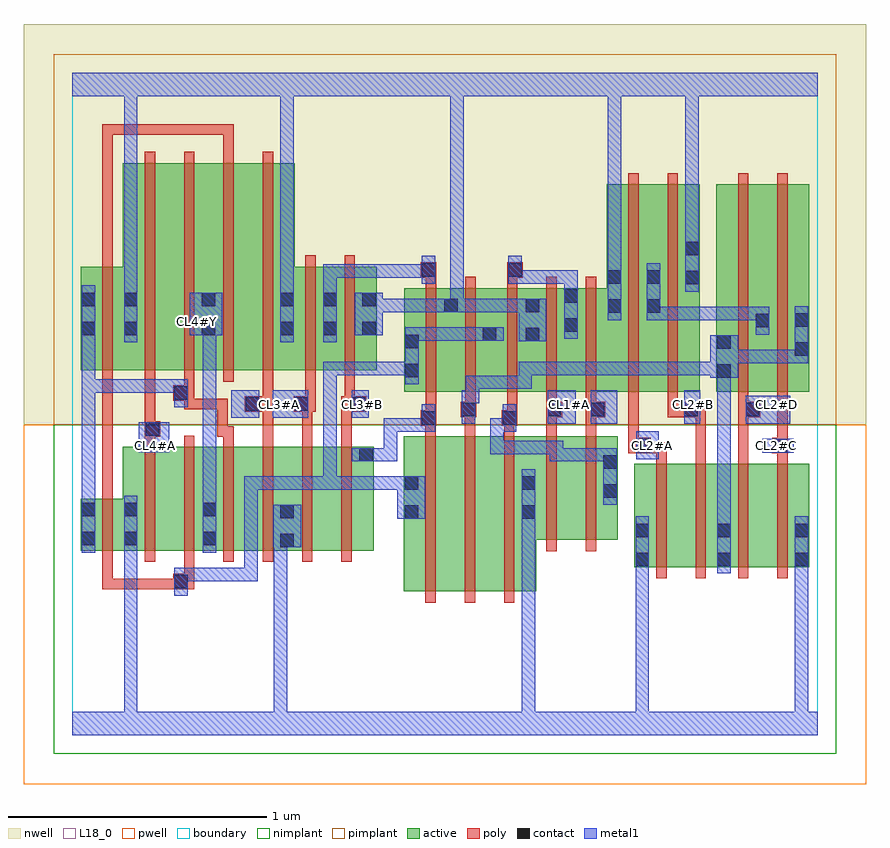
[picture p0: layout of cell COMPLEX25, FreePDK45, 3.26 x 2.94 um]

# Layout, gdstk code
import gdstk
lib = gdstk.Library(unit=1e-6, precision=1e-09)
def R(c, l, rs):  # rectangles x0, y0, x1, y1
    for r in rs: c.add(gdstk.rectangle(r[:2], r[2:], *l))
def A(c, l, x, y, w, h, nx, ny, dx, dy):  # array of equal rectangles
    R(c, l, [(x+i*dx, y+j*dy, x+i*dx+w, y+j*dy+h) for i in range(nx) for j in range(ny)])
active = (1, 0)
pwell = (2, 0)
nwell = (3, 0)
nimplant = (4, 0)
pimplant = (5, 0)
poly = (9, 0)
contact = (10, 0)
metal1 = (11, 0)
L18_0 = (18, 0)
boundary = (235, 0)

complex25 = lib.new_cell('COMPLEX25')
R(complex25, active, [(1.28,0.556,1.46,1.156), (1.28,0.556,1.34,1.156), (1.46,0.556,1.612,1.156), (1.612,0.556,1.792,1.156), (2.172,0.65,2.232,1.05), (2.172,0.65,2.352,1.05), (2.352,0.65,2.548,1.05), (2.488,0.65,2.548,1.05), (2.488,0.65,2.668,1.05), (2.668,0.65,2.848,1.05), (2.788,0.65,2.848,1.05), (0.032,0.714,0.092,0.914), (0.032,0.714,0.256,0.914), (0.196,0.714,0.376,1.114), (0.196,0.714,0.256,0.914), (0.376,0.714,0.56,1.114), (0.5,0.714,0.56,1.114), (0.5,0.714,0.68,1.114), (0.68,0.714,0.86,1.114), (0.8,0.714,0.984,1.114), (0.8,0.714,0.86,0.894), (0.984,0.714,1.164,1.114), (1.104,0.756,1.164,1.114), (1.732,0.756,1.928,1.156), (1.732,0.756,1.792,1.004), (1.928,0.756,2.108,1.156), (2.048,0.756,2.108,1.156), (1.282,1.328,1.494,1.728), (1.282,1.328,1.342,1.644), (1.434,1.328,1.642,1.728), (1.582,1.328,1.808,1.728), (1.748,1.328,1.808,1.728), (1.748,1.328,1.956,1.728), (1.896,1.328,1.956,1.728), (1.896,1.328,2.124,1.728), (2.064,1.328,2.276,2.128), (2.216,1.328,2.424,2.128), (2.488,1.328,2.548,2.044), (2.488,1.328,2.696,2.128), (2.636,1.328,2.848,2.128), (2.788,1.328,2.848,2.044), (1.434,1.356,1.494,1.728), (2.636,1.356,2.696,2.044), (2.216,1.366,2.276,2.044), (0.032,1.41,0.092,1.81), (0.032,1.41,0.256,1.81), (0.196,1.41,0.256,2.21), (0.196,1.41,0.376,2.21), (0.376,1.41,0.556,2.21), (0.496,1.41,0.68,2.21), (0.496,1.41,0.556,2.044), (0.68,1.41,0.86,2.21), (0.8,1.41,1.026,1.81), (0.8,1.41,0.86,2.21), (0.966,1.41,1.026,1.81), (0.966,1.41,1.176,1.81), (1.116,1.41,1.176,1.81), (2.064,1.422,2.124,2.128), (2.364,1.452,2.424,2.044), (1.582,1.52,1.642,1.644)])
R(complex25, pwell, [(-0.188,-0.188,3.068,1.2)])
R(complex25, nwell, [(-0.188,1.2,3.068,2.748)])
R(complex25, nimplant, [(-0.072,-0.072,2.952,1.2)])
R(complex25, pimplant, [(-0.072,1.2,2.952,2.632)])
A(complex25, poly, 1.364, 0.512, 0.04, 0.688, 3, 1, 0.152, 0)
A(complex25, poly, 0.28, 0.67, 0.04, 0.488, 6, 1, 0.152, 0)
A(complex25, poly, 0.736, 1.118, 0.04, 0.172, 3, 1, 0.152, 0)
A(complex25, poly, 1.68, 1.284, 0.04, 0.488, 3, 1, 0.152, 0)
A(complex25, poly, 0.28, 1.366, 0.04, 0.888, 4, 1, 0.152, 0)
R(complex25, poly, [(0.116,0.564,0.156,0.604), (0.116,0.564,0.156,0.604), (0.116,0.564,0.156,0.604), (0.116,0.564,0.156,0.604), (0.116,0.564,0.156,0.604), (0.116,0.564,0.156,0.604), (0.116,0.564,0.156,0.604), (0.116,0.564,0.156,0.71), (0.116,0.564,0.324,0.604), (0.284,0.564,0.324,0.604), (0.284,0.564,0.324,0.604), (0.284,0.564,0.324,0.604), (0.284,0.564,0.43,0.604), (0.39,0.564,0.472,0.624), (0.432,0.584,0.472,0.71), (2.256,0.606,2.296,1.094), (2.408,0.606,2.448,1.094), (2.572,0.606,2.612,1.094), (2.724,0.606,2.764,1.094), (0.116,0.67,0.156,0.958), (1.832,0.712,1.872,1.2), (1.984,0.712,2.024,1.2), (0.116,0.918,0.156,1.37), (2.256,1.054,2.296,1.13), (2.408,1.054,2.448,1.268), (2.572,1.054,2.612,1.268), (2.724,1.054,2.764,1.13), (2.148,1.09,2.234,1.15), (2.194,1.09,2.234,1.13), (2.194,1.09,2.296,1.13), (2.704,1.09,2.764,1.15), (2.148,1.11,2.188,1.324), (2.724,1.11,2.764,1.324), (2.724,1.11,2.764,1.15), (2.724,1.11,2.764,1.15), (0.28,1.118,0.32,1.194), (0.584,1.118,0.624,1.194), (0.28,1.154,0.34,1.214), (0.56,1.154,0.6,1.3), (0.56,1.154,0.624,1.194), (1.364,1.16,1.404,1.236), (1.516,1.16,1.556,1.268), (1.668,1.16,1.708,1.236), (1.832,1.16,1.872,1.268), (1.984,1.16,2.024,1.268), (0.28,1.174,0.32,1.214), (0.28,1.174,0.32,1.214), (0.28,1.174,0.32,1.406), (1.346,1.196,1.406,1.256), (1.66,1.196,1.72,1.256), (1.366,1.216,1.406,1.256), (1.366,1.216,1.406,1.256), (1.366,1.216,1.406,1.324), (1.68,1.216,1.72,1.256), (1.68,1.216,1.72,1.256), (1.68,1.216,1.72,1.324), (1.5,1.228,1.56,1.288), (1.516,1.228,1.556,1.268), (1.516,1.228,1.556,1.268), (1.832,1.228,1.872,1.268), (1.832,1.228,1.872,1.268), (1.832,1.228,1.892,1.288), (1.984,1.228,2.024,1.268), (1.984,1.228,2.024,1.268), (1.984,1.228,2.06,1.288), (2.3,1.228,2.42,1.288), (2.38,1.228,2.42,1.268), (2.38,1.228,2.448,1.268), (2.572,1.228,2.612,1.268), (2.572,1.228,2.612,1.268), (2.572,1.228,2.658,1.288), (1.518,1.248,1.558,1.324), (1.832,1.248,1.872,1.324), (1.984,1.248,2.024,1.324), (2.3,1.248,2.34,1.324), (2.572,1.248,2.612,1.324), (0.666,1.25,0.776,1.31), (0.736,1.25,0.776,1.29), (0.736,1.25,0.776,1.29), (0.856,1.25,0.94,1.31), (0.888,1.25,0.928,1.29), (0.888,1.25,0.928,1.29), (1.04,1.25,1.136,1.31), (0.432,1.26,0.6,1.3), (0.432,1.26,0.472,1.332), (0.56,1.26,0.6,1.3), (0.736,1.27,0.776,1.406), (0.9,1.27,0.94,1.406), (1.052,1.27,1.092,1.31), (1.052,1.27,1.092,1.31), (1.052,1.27,1.092,1.406), (1.366,1.284,1.406,1.772), (1.518,1.284,1.558,1.772), (2.148,1.284,2.188,2.172), (2.3,1.284,2.34,2.172), (2.572,1.284,2.612,2.172), (2.724,1.284,2.764,2.172), (0.39,1.292,0.472,1.352), (0.432,1.292,0.472,1.332), (0.432,1.312,0.472,1.406), (0.116,1.33,0.156,1.37), (0.116,1.33,0.156,1.37), (0.116,1.33,0.156,1.37), (0.116,1.33,0.156,1.406), (0.116,1.366,0.156,1.854), (0.9,1.366,0.94,1.854), (1.052,1.366,1.092,1.854), (1.366,1.732,1.406,1.808), (1.68,1.732,1.72,1.808), (1.346,1.768,1.406,1.828), (1.68,1.768,1.74,1.828), (0.116,1.814,0.156,2.36), (0.584,2.214,0.624,2.36), (0.116,2.32,0.156,2.36), (0.116,2.32,0.156,2.36), (0.116,2.32,0.156,2.36), (0.116,2.32,0.156,2.36), (0.116,2.32,0.156,2.36), (0.116,2.32,0.156,2.36), (0.116,2.32,0.156,2.36), (0.116,2.32,0.156,2.36), (0.116,2.32,0.156,2.36), (0.116,2.32,0.156,2.36), (0.116,2.32,0.156,2.36), (0.116,2.32,0.324,2.36), (0.284,2.32,0.324,2.36), (0.284,2.32,0.324,2.36), (0.284,2.32,0.324,2.36), (0.284,2.32,0.494,2.36), (0.454,2.32,0.494,2.36), (0.454,2.32,0.494,2.36), (0.454,2.32,0.494,2.36), (0.454,2.32,0.624,2.36), (0.584,2.32,0.624,2.36)])
R(complex25, contact, [(0.394,0.568,0.446,0.62), (2.176,0.654,2.228,0.706), (2.492,0.654,2.544,0.706), (2.792,0.654,2.844,0.706), (0.804,0.726,0.856,0.778), (0.036,0.734,0.088,0.786), (0.2,0.734,0.252,0.786), (0.504,0.734,0.556,0.786), (2.176,0.766,2.228,0.818), (2.492,0.766,2.544,0.818), (2.792,0.766,2.844,0.818), (1.284,0.836,1.336,0.888), (1.736,0.836,1.788,0.888), (0.804,0.838,0.856,0.89), (0.036,0.846,0.088,0.898), (0.2,0.846,0.252,0.898), (0.504,0.846,0.556,0.898), (2.052,0.918,2.104,0.97), (1.284,0.948,1.336,1), (1.736,0.948,1.788,1), (2.052,1.03,2.104,1.082), (1.108,1.058,1.16,1.11), (2.178,1.094,2.23,1.146), (2.708,1.094,2.76,1.146), (0.284,1.158,0.336,1.21), (1.35,1.2,1.402,1.252), (1.664,1.2,1.716,1.252), (1.504,1.232,1.556,1.284), (1.836,1.232,1.888,1.284), (2.004,1.232,2.056,1.284), (2.364,1.232,2.416,1.284), (2.602,1.232,2.654,1.284), (0.67,1.254,0.722,1.306), (0.86,1.254,0.912,1.306), (1.08,1.254,1.132,1.306), (0.394,1.296,0.446,1.348), (2.492,1.382,2.544,1.434), (1.286,1.384,1.338,1.436), (2.792,1.466,2.844,1.518), (2.492,1.494,2.544,1.546), (1.286,1.496,1.338,1.548), (1.752,1.522,1.804,1.574), (1.586,1.524,1.638,1.576), (0.036,1.546,0.088,1.598), (0.2,1.546,0.252,1.598), (0.5,1.546,0.552,1.598), (0.804,1.546,0.856,1.598), (0.97,1.546,1.022,1.598), (1.12,1.546,1.172,1.598), (1.9,1.56,1.952,1.612), (2.64,1.576,2.692,1.628), (2.792,1.578,2.844,1.63), (2.068,1.632,2.12,1.684), (2.22,1.632,2.272,1.684), (1.438,1.634,1.49,1.686), (1.752,1.634,1.804,1.686), (0.036,1.658,0.088,1.71), (0.2,1.658,0.252,1.71), (0.5,1.658,0.552,1.71), (0.804,1.658,0.856,1.71), (0.97,1.658,1.022,1.71), (1.12,1.658,1.172,1.71), (1.9,1.672,1.952,1.724), (2.368,1.742,2.42,1.794), (2.068,1.744,2.12,1.796), (2.22,1.744,2.272,1.796), (1.35,1.772,1.402,1.824), (1.684,1.772,1.736,1.824), (2.368,1.854,2.42,1.906)])
R(complex25, metal1, [(0,0,2.88,0.092), (0.2,0.04,0.252,0.092), (0.2,0.04,0.252,0.092), (0.2,0.04,0.252,0.092), (0.2,0.04,0.252,0.092), (0.2,0.04,0.252,0.092), (0.2,0.04,0.252,0.092), (0.2,0.04,0.252,0.092), (0.2,0.04,0.252,0.092), (0.2,0.04,0.252,0.092), (0.2,0.04,0.252,0.092), (0.2,0.04,0.252,0.758), (0.778,0.04,0.83,0.092), (0.778,0.04,0.83,0.092), (0.778,0.04,0.83,0.092), (0.778,0.04,0.83,0.092), (0.778,0.04,0.83,0.092), (0.778,0.04,0.83,0.092), (0.778,0.04,0.83,0.092), (0.778,0.04,0.83,0.092), (0.778,0.04,0.83,0.092), (0.778,0.04,0.83,0.092), (0.778,0.04,0.83,0.092), (0.778,0.04,0.83,0.092), (0.778,0.04,0.83,0.778), (1.736,0.04,1.788,0.092), (1.736,0.04,1.788,0.092), (1.736,0.04,1.788,0.092), (1.736,0.04,1.788,0.092), (1.736,0.04,1.788,0.86), (2.176,0.04,2.228,0.092), (2.176,0.04,2.228,0.092), (2.176,0.04,2.228,0.678), (2.792,0.04,2.844,0.092), (2.792,0.04,2.844,0.092), (2.792,0.04,2.844,0.092), (2.792,0.04,2.844,0.092), (2.792,0.04,2.844,0.678), (0.394,0.54,0.446,0.648), (0.394,0.596,0.446,0.648), (0.394,0.596,0.446,0.648), (0.394,0.596,0.556,0.648), (0.504,0.596,0.556,0.648), (0.504,0.596,0.716,0.648), (0.664,0.596,0.716,0.648), (0.664,0.596,0.716,0.648), (0.664,0.596,0.716,0.648), (0.664,0.596,0.716,1), (2.176,0.626,2.228,0.846), (2.176,0.626,2.228,0.678), (2.176,0.626,2.228,0.678), (2.176,0.626,2.228,0.678), (2.176,0.626,2.228,0.678), (2.176,0.626,2.228,0.678), (2.176,0.626,2.228,0.678), (2.176,0.626,2.228,0.678), (2.176,0.626,2.228,0.678), (2.176,0.626,2.228,0.678), (2.176,0.626,2.228,0.678), (2.492,0.626,2.544,0.846), (2.792,0.626,2.844,0.846), (2.792,0.626,2.844,0.678), (2.792,0.626,2.844,0.678), (2.792,0.626,2.844,0.678), (2.792,0.626,2.844,0.678), (2.792,0.626,2.844,0.678), (2.792,0.626,2.844,0.678), (2.792,0.626,2.844,0.678), (2.792,0.626,2.844,0.678), (0.036,0.706,0.088,0.926), (0.2,0.706,0.252,0.926), (0.2,0.706,0.252,0.758), (0.2,0.706,0.252,0.758), (0.504,0.706,0.556,0.926), (0.776,0.726,0.884,0.89), (2.492,0.794,2.544,0.846), (2.492,0.794,2.544,0.846), (2.492,0.794,2.544,1.434), (1.736,0.808,1.788,1.028), (1.736,0.808,1.788,0.86), (1.736,0.808,1.788,0.86), (1.736,0.808,1.788,0.86), (1.736,0.808,1.788,0.86), (1.256,0.836,1.364,1), (0.036,0.874,0.088,1.376), (0.504,0.874,0.556,0.926), (0.504,0.874,0.556,0.926), (0.504,0.874,0.556,1.598), (2.052,0.89,2.104,1.11), (0.664,0.948,0.716,1), (0.664,0.948,0.716,1), (0.664,0.948,0.716,1), (0.664,0.948,0.912,1), (0.86,0.948,0.912,1), (0.86,0.948,0.912,1), (0.86,0.948,0.912,1), (0.86,0.948,1.022,1), (0.97,0.948,1.022,1), (0.97,0.948,1.022,1), (0.97,0.948,1.022,1), (0.97,0.948,1.132,1), (0.97,0.948,1.022,1.444), (1.08,0.948,1.132,1), (1.08,0.948,1.132,1), (1.08,0.948,1.132,1), (1.08,0.948,1.308,1), (1.08,1.058,1.256,1.11), (1.204,1.058,1.256,1.224), (1.844,1.058,2.052,1.11), (1.844,1.058,1.896,1.138), (2,1.058,2.052,1.11), (2,1.058,2.104,1.11), (2.178,1.066,2.266,1.174), (1.614,1.086,1.666,1.138), (1.614,1.086,1.778,1.138), (1.614,1.086,1.666,1.224), (1.726,1.086,1.778,1.138), (1.726,1.086,1.778,1.138), (1.726,1.086,1.778,1.138), (1.726,1.086,1.896,1.138), (1.844,1.086,1.896,1.138), (1.844,1.086,1.896,1.138), (2.666,1.092,2.788,1.146), (0.256,1.094,0.374,1.21), (1.204,1.172,1.256,1.224), (1.204,1.172,1.256,1.224), (1.204,1.172,1.256,1.224), (1.204,1.172,1.402,1.224), (1.35,1.172,1.402,1.28), (1.614,1.172,1.666,1.224), (1.614,1.172,1.716,1.224), (1.664,1.172,1.716,1.28), (1.504,1.204,1.556,1.334), (1.836,1.204,1.946,1.334), (2.004,1.204,2.106,1.334), (2.364,1.204,2.426,1.334), (2.602,1.204,2.774,1.312), (0.614,1.226,0.722,1.334), (0.774,1.226,0.912,1.334), (1.08,1.226,1.146,1.334), (0.394,1.268,0.446,1.376), (1.504,1.282,1.572,1.334), (1.52,1.282,1.572,1.39), (0.036,1.324,0.088,1.376), (0.036,1.324,0.088,1.376), (0.036,1.324,0.088,1.376), (0.036,1.324,0.088,1.376), (0.036,1.324,0.088,1.376), (0.036,1.324,0.198,1.376), (0.036,1.324,0.088,1.57), (0.146,1.324,0.198,1.376), (0.146,1.324,0.198,1.376), (0.146,1.324,0.198,1.376), (0.146,1.324,0.308,1.376), (0.256,1.324,0.308,1.376), (0.256,1.324,0.446,1.376), (1.52,1.338,1.776,1.39), (1.724,1.338,1.776,1.39), (1.724,1.338,1.776,1.39), (1.724,1.338,1.776,1.39), (1.724,1.338,1.776,1.444), (1.286,1.356,1.338,1.576), (1.286,1.356,1.338,1.408), (1.286,1.356,1.338,1.444), (2.464,1.382,2.572,1.546), (2.492,1.382,2.544,1.434), (2.492,1.382,2.544,1.434), (0.97,1.392,1.022,1.444), (0.97,1.392,1.022,1.444), (0.97,1.392,1.022,1.444), (0.97,1.392,1.022,1.444), (0.97,1.392,1.022,1.444), (0.97,1.392,1.022,1.444), (0.97,1.392,1.022,1.444), (0.97,1.392,1.292,1.444), (1.24,1.392,1.292,1.444), (1.24,1.392,1.338,1.444), (1.724,1.392,1.776,1.444), (1.724,1.392,1.902,1.444), (1.85,1.392,1.902,1.444), (1.85,1.392,1.902,1.444), (1.85,1.392,1.902,1.444), (1.85,1.392,2.052,1.444), (2,1.392,2.052,1.444), (2,1.392,2.056,1.444), (2.004,1.392,2.056,1.444), (2.004,1.392,2.162,1.444), (2.11,1.392,2.162,1.444), (2.11,1.392,2.272,1.444), (2.22,1.392,2.272,1.444), (2.22,1.392,2.272,1.444), (2.22,1.392,2.272,1.444), (2.22,1.392,2.382,1.444), (2.33,1.392,2.382,1.444), (2.33,1.392,2.382,1.444), (2.33,1.392,2.382,1.444), (2.33,1.392,2.516,1.444), (2.52,1.438,2.572,1.49), (2.52,1.438,2.572,1.49), (2.52,1.438,2.682,1.49), (2.63,1.438,2.844,1.49), (2.63,1.438,2.682,1.49), (2.63,1.438,2.682,1.49), (2.63,1.438,2.682,1.49), (2.792,1.438,2.844,1.658), (0.036,1.518,0.088,1.738), (0.2,1.518,0.252,1.738), (0.804,1.518,0.856,1.738), (0.97,1.518,1.022,1.738), (1.724,1.522,1.832,1.686), (1.286,1.524,1.446,1.576), (1.394,1.524,1.446,1.576), (1.394,1.524,1.462,1.576), (1.41,1.524,1.462,1.576), (1.41,1.524,1.556,1.576), (1.504,1.524,1.556,1.576), (1.504,1.524,1.61,1.576), (1.558,1.524,1.666,1.576), (1.9,1.532,1.952,1.752), (0.454,1.546,0.58,1.71), (0.504,1.546,0.556,1.598), (0.504,1.546,0.556,1.598), (0.504,1.546,0.556,1.598), (0.504,1.546,0.556,1.598), (1.092,1.546,1.2,1.71), (2.64,1.548,2.692,1.656), (2.068,1.604,2.12,1.824), (2.22,1.604,2.272,1.824), (2.22,1.604,2.382,1.656), (2.33,1.604,2.382,1.656), (2.33,1.604,2.382,1.656), (2.33,1.604,2.382,1.656), (2.33,1.604,2.536,1.656), (2.484,1.604,2.536,1.656), (2.484,1.604,2.536,1.656), (2.484,1.604,2.536,1.656), (2.484,1.604,2.692,1.656), (1.148,1.634,1.352,1.686), (1.3,1.634,1.352,1.686), (1.3,1.634,1.402,1.686), (1.35,1.634,1.402,1.686), (1.35,1.634,1.462,1.686), (1.41,1.634,1.462,1.686), (1.41,1.634,1.462,1.686), (1.41,1.634,1.518,1.686), (1.41,1.634,1.556,1.686), (1.46,1.634,1.512,2.204), (1.504,1.634,1.556,1.686), (1.504,1.634,1.666,1.686), (1.614,1.634,1.666,1.686), (1.614,1.634,1.666,1.686), (1.614,1.634,1.666,1.686), (1.614,1.634,1.776,1.686), (0.2,1.686,0.252,1.738), (0.2,1.686,0.252,1.738), (0.2,1.686,0.252,1.738), (0.2,1.686,0.252,1.738), (0.2,1.686,0.252,2.52), (0.804,1.686,0.856,1.738), (0.804,1.686,0.856,1.738), (0.804,1.686,0.856,2.52), (0.97,1.686,1.022,1.82), (1.9,1.7,1.952,1.796), (2.368,1.714,2.42,1.934), (1.35,1.744,1.402,1.852), (1.684,1.744,1.736,1.852), (1.684,1.744,1.776,1.796), (1.724,1.744,1.776,1.796), (1.724,1.744,1.942,1.796), (1.89,1.744,1.942,1.796), (1.89,1.744,1.942,1.796), (1.89,1.744,1.952,1.796), (0.97,1.768,1.022,1.82), (0.97,1.768,1.022,1.82), (0.97,1.768,1.022,1.82), (0.97,1.768,1.28,1.82), (1.228,1.768,1.28,1.82), (1.228,1.768,1.28,1.82), (1.228,1.768,1.28,1.82), (1.228,1.768,1.402,1.82), (2.068,1.772,2.12,2.52), (2.368,1.882,2.42,1.934), (2.368,1.882,2.42,1.934), (2.368,1.882,2.42,1.934), (2.368,1.882,2.42,1.934), (2.368,1.882,2.42,2.52), (1.46,2.152,1.512,2.204), (1.46,2.152,1.512,2.204), (1.46,2.152,1.512,2.204), (1.46,2.152,1.512,2.204), (1.46,2.152,1.512,2.204), (1.46,2.152,1.512,2.204), (1.46,2.152,1.512,2.204), (1.46,2.152,1.512,2.204), (1.46,2.152,1.512,2.204), (1.46,2.152,1.512,2.204), (1.46,2.152,1.512,2.204), (1.46,2.152,1.512,2.204), (1.46,2.152,1.512,2.204), (1.46,2.152,1.512,2.52), (0,2.468,2.88,2.56), (0.2,2.468,0.252,2.52), (0.2,2.468,0.252,2.52), (0.2,2.468,0.252,2.52), (0.2,2.468,0.252,2.52), (0.804,2.468,0.856,2.52), (0.804,2.468,0.856,2.52), (0.804,2.468,0.856,2.52), (0.804,2.468,0.856,2.52), (0.804,2.468,0.856,2.52), (0.804,2.468,0.856,2.52), (1.46,2.468,1.512,2.52), (1.46,2.468,1.512,2.52), (2.068,2.468,2.12,2.52), (2.068,2.468,2.12,2.52), (2.068,2.468,2.12,2.52), (2.068,2.468,2.12,2.52), (2.068,2.468,2.12,2.52), (2.068,2.468,2.12,2.52), (2.068,2.468,2.12,2.52), (2.068,2.468,2.12,2.52), (2.368,2.468,2.42,2.52), (2.368,2.468,2.42,2.52), (2.368,2.468,2.42,2.52), (2.368,2.468,2.42,2.52)])
A(complex25, L18_0, 2.054, 1.254, 0.052, 0.052, 3, 1, 0.32, 0)
R(complex25, L18_0, [(0,0,2.88,0.092), (0.2,0.04,0.252,0.092), (0.2,0.04,0.252,0.092), (0.2,0.04,0.252,0.092), (0.2,0.04,0.252,0.092), (0.2,0.04,0.252,0.092), (0.2,0.04,0.252,0.092), (0.2,0.04,0.252,0.092), (0.2,0.04,0.252,0.092), (0.2,0.04,0.252,0.092), (0.2,0.04,0.252,0.092), (0.2,0.04,0.252,0.758), (0.778,0.04,0.83,0.092), (0.778,0.04,0.83,0.092), (0.778,0.04,0.83,0.092), (0.778,0.04,0.83,0.092), (0.778,0.04,0.83,0.092), (0.778,0.04,0.83,0.092), (0.778,0.04,0.83,0.092), (0.778,0.04,0.83,0.092), (0.778,0.04,0.83,0.092), (0.778,0.04,0.83,0.092), (0.778,0.04,0.83,0.092), (0.778,0.04,0.83,0.092), (0.778,0.04,0.83,0.778), (1.736,0.04,1.788,0.092), (1.736,0.04,1.788,0.092), (1.736,0.04,1.788,0.092), (1.736,0.04,1.788,0.092), (1.736,0.04,1.788,0.86), (2.176,0.04,2.228,0.092), (2.176,0.04,2.228,0.092), (2.176,0.04,2.228,0.678), (2.792,0.04,2.844,0.092), (2.792,0.04,2.844,0.092), (2.792,0.04,2.844,0.092), (2.792,0.04,2.844,0.092), (2.792,0.04,2.844,0.678), (2.176,0.626,2.228,0.678), (2.176,0.626,2.228,0.678), (2.176,0.626,2.228,0.678), (2.176,0.626,2.228,0.678), (2.176,0.626,2.228,0.678), (2.176,0.626,2.228,0.678), (2.176,0.626,2.228,0.678), (2.176,0.626,2.228,0.678), (2.176,0.626,2.228,0.678), (2.176,0.626,2.228,0.678), (2.176,0.626,2.228,0.846), (2.792,0.626,2.844,0.678), (2.792,0.626,2.844,0.678), (2.792,0.626,2.844,0.678), (2.792,0.626,2.844,0.678), (2.792,0.626,2.844,0.678), (2.792,0.626,2.844,0.678), (2.792,0.626,2.844,0.678), (2.792,0.626,2.844,0.678), (2.792,0.626,2.844,0.846), (0.2,0.706,0.252,0.758), (0.2,0.706,0.252,0.758), (0.2,0.706,0.252,0.926), (0.504,0.706,0.556,0.926), (0.776,0.726,0.884,0.89), (1.736,0.808,1.788,0.86), (1.736,0.808,1.788,0.86), (1.736,0.808,1.788,0.86), (1.736,0.808,1.788,0.86), (1.736,0.808,1.788,1.028), (0.504,0.874,0.556,0.926), (0.504,0.874,0.556,0.926), (0.504,0.874,0.556,1.598), (2.178,1.066,2.266,1.174), (2.666,1.092,2.788,1.146), (0.256,1.094,0.374,1.21), (0.294,1.094,0.346,1.146), (2.214,1.094,2.266,1.146), (2.694,1.094,2.746,1.146), (1.836,1.204,1.946,1.334), (2.004,1.204,2.106,1.334), (2.364,1.204,2.426,1.334), (2.602,1.204,2.774,1.312), (0.614,1.226,0.722,1.334), (0.774,1.226,0.912,1.334), (1.08,1.226,1.146,1.334), (0.614,1.254,0.666,1.306), (0.774,1.254,0.826,1.306), (1.094,1.254,1.146,1.306), (1.894,1.254,1.946,1.306), (0.2,1.518,0.252,1.738), (0.804,1.518,0.856,1.738), (1.724,1.522,1.832,1.686), (0.454,1.546,0.58,1.71), (0.504,1.546,0.556,1.598), (0.504,1.546,0.556,1.598), (0.504,1.546,0.556,1.598), (0.504,1.546,0.556,1.598), (1.092,1.546,1.2,1.71), (0.454,1.574,0.506,1.626), (2.068,1.604,2.12,1.824), (1.148,1.634,1.352,1.686), (1.3,1.634,1.352,1.686), (1.3,1.634,1.402,1.686), (1.35,1.634,1.402,1.686), (1.35,1.634,1.462,1.686), (1.41,1.634,1.462,1.686), (1.41,1.634,1.462,1.686), (1.41,1.634,1.518,1.686), (1.41,1.634,1.556,1.686), (1.46,1.634,1.512,2.204), (1.504,1.634,1.556,1.686), (1.504,1.634,1.666,1.686), (1.614,1.634,1.666,1.686), (1.614,1.634,1.666,1.686), (1.614,1.634,1.666,1.686), (1.614,1.634,1.776,1.686), (0.2,1.686,0.252,1.738), (0.2,1.686,0.252,1.738), (0.2,1.686,0.252,1.738), (0.2,1.686,0.252,1.738), (0.2,1.686,0.252,2.52), (0.804,1.686,0.856,1.738), (0.804,1.686,0.856,1.738), (0.804,1.686,0.856,2.52), (2.368,1.714,2.42,1.934), (2.068,1.772,2.12,2.52), (2.368,1.882,2.42,1.934), (2.368,1.882,2.42,1.934), (2.368,1.882,2.42,1.934), (2.368,1.882,2.42,1.934), (2.368,1.882,2.42,2.52), (1.46,2.152,1.512,2.204), (1.46,2.152,1.512,2.204), (1.46,2.152,1.512,2.204), (1.46,2.152,1.512,2.204), (1.46,2.152,1.512,2.204), (1.46,2.152,1.512,2.204), (1.46,2.152,1.512,2.204), (1.46,2.152,1.512,2.204), (1.46,2.152,1.512,2.204), (1.46,2.152,1.512,2.204), (1.46,2.152,1.512,2.204), (1.46,2.152,1.512,2.204), (1.46,2.152,1.512,2.204), (1.46,2.152,1.512,2.52), (0,2.468,2.88,2.56), (0.2,2.468,0.252,2.52), (0.2,2.468,0.252,2.52), (0.2,2.468,0.252,2.52), (0.2,2.468,0.252,2.52), (0.804,2.468,0.856,2.52), (0.804,2.468,0.856,2.52), (0.804,2.468,0.856,2.52), (0.804,2.468,0.856,2.52), (0.804,2.468,0.856,2.52), (0.804,2.468,0.856,2.52), (1.46,2.468,1.512,2.52), (1.46,2.468,1.512,2.52), (2.068,2.468,2.12,2.52), (2.068,2.468,2.12,2.52), (2.068,2.468,2.12,2.52), (2.068,2.468,2.12,2.52), (2.068,2.468,2.12,2.52), (2.068,2.468,2.12,2.52), (2.068,2.468,2.12,2.52), (2.068,2.468,2.12,2.52), (2.368,2.468,2.42,2.52), (2.368,2.468,2.42,2.52), (2.368,2.468,2.42,2.52), (2.368,2.468,2.42,2.52)])
R(complex25, boundary, [(0,0,2.88,2.56)])
complex25.add(gdstk.Label('CL1#A', (1.92,1.28), layer=11, texttype=0))
complex25.add(gdstk.Label('CL1#B', (2.08,1.28), layer=11, texttype=0))
complex25.add(gdstk.Label('CL2#A', (2.24,1.12), layer=11, texttype=0))
complex25.add(gdstk.Label('CL2#B', (2.4,1.28), layer=11, texttype=0))
complex25.add(gdstk.Label('CL2#C', (2.72,1.12), layer=11, texttype=0))
complex25.add(gdstk.Label('CL2#D', (2.72,1.28), layer=11, texttype=0))
complex25.add(gdstk.Label('CL3#A', (0.8,1.28), layer=11, texttype=0))
complex25.add(gdstk.Label('CL3#B', (1.12,1.28), layer=11, texttype=0))
complex25.add(gdstk.Label('CL4#A', (0.32,1.12), layer=11, texttype=0))
complex25.add(gdstk.Label('CL4#B', (0.64,1.28), layer=11, texttype=0))
complex25.add(gdstk.Label('CL4#Y', (0.48,1.6), layer=11, texttype=0))

lib.write_gds('COMPLEX25.gds')
